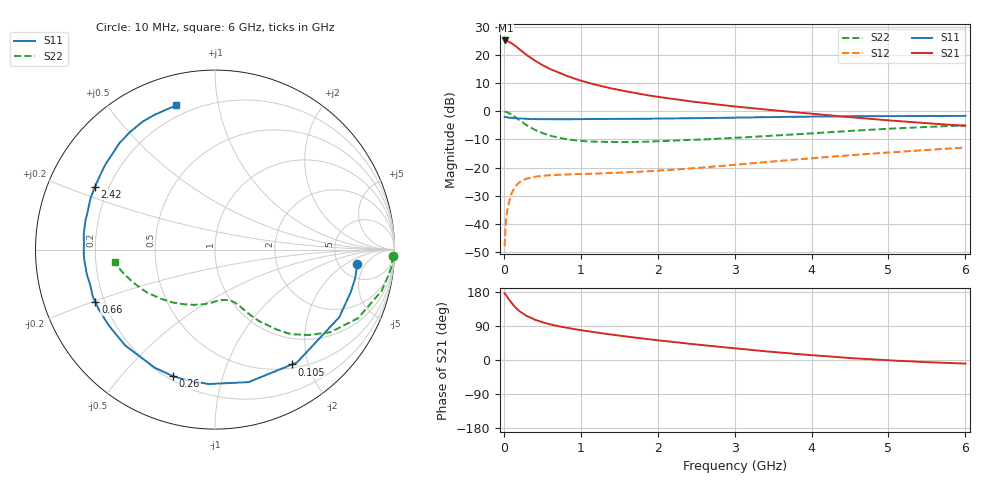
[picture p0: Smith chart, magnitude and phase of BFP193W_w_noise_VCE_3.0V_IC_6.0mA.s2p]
! Infineon Technologies  Discrete & RF Semiconductors
! BFP193W
! VCE = 3.0 V,  IC =  6.0 mA
! Common Emitter S-Parameters:  Jan 2016
# GHz  S  MA  R  50
!  f  S11  S21  S12  S22
! GHz  MAG  ANG  MAG  ANG  MAG  ANG  MAG  ANG
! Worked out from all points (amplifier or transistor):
!   210 points, 10 MHz to 6 GHz, reference 50 ohm
!   highest |S21| = 25.2 dB at 20 MHz (marker M1)
!   |S21| within 3 dB of that: start of sweep to 196.8 MHz
!   unconditionally stable (mu >= 1): 1.569 GHz to 4.35 GHz
!   at 185 MHz: K = 0.16, MSG = 24.1 dB, |S12| = -25.7 dB
!   at 1.52 GHz: K = 0.98, MSG = 14.6 dB, |S12| = -21.8 dB
!   at 6 GHz: K = 0.92, MSG = 3.9 dB, |S12| = -12.9 dB
!   lowest NFmin = 1.20 dB at 450 MHz
!   S11 on the Smith chart (normalised r, x): 10 MHz: 7.43, -3.23; 105 MHz: 0.55, -1.74; 260 MHz: 0.22, -0.70; 660 MHz: 0.16, -0.20; 2.42 GHz: 0.15, +0.24; 6 GHz: 0.14, +0.76
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0.01  0.7971 -5.7  18.19 175.9  0.004 87.4  0.9924 -2.0
0.02  0.7972 -11.6  18.26 173.7  0.0077 84.1  0.9871 -5.8
0.05  0.7883 -28.5  17.77 164.4  0.019 76.2  0.9568 -13.9
0.1  0.7772 -54.0  16.32 150.5  0.0347 63.6  0.8838 -25.6
0.105  0.7707 -56.1  16.13 149.4  0.0358 62.3  0.8734 -26.5
0.15  0.7616 -75.8  14.62 138.5  0.0464 53.9  0.7907 -35.6
0.2  0.7499 -92.8  12.82 129.2  0.0545 46.5  0.7023 -42.7
0.26  0.743 -108.4  11.05 120.8  0.0608 39.9  0.6157 -49.1
0.3  0.7386 -117.1  9.993 115.8  0.0638 36.7  0.5628 -52.3
0.4  0.7319 -133.1  8.052 106.6  0.0685 30.9  0.4717 -58.1
0.5  0.7271 -144.1  6.68 99.6  0.0714 27.7  0.4118 -61.8
0.6  0.7283 -152.3  5.68 94.1  0.0732 25.7  0.3701 -64.6
0.66  0.7278 -156.3  5.244 91.5  0.0739 25.2  0.3529 -65.7
0.8  0.7226 -164.3  4.36 85.6  0.0752 24.2  0.3227 -68.6
1.02  0.728 -173.2  3.463 78.1  0.0769 24.3  0.2976 -72.8
1.4  0.7342 174.9  2.559 67.0  0.0804 26.7  0.2855 -80.2
2.02  0.7449 160.3  1.8 51.6  0.0885 33.1  0.2952 -93.1
2.42  0.7541 152.3  1.51 42.7  0.0962 36.8  0.3108 -101.8
3.1  0.776 140.1  1.184 29.0  0.1151 41.1  0.3434 -117.2
4.1  0.8097 124.5  0.879 11.3  0.1503 42.1  0.4141 -139.9
5.1  0.8235 113.1  0.676 -1.9  0.1895 39.2  0.4975 -159.6
6  0.8318 105.1  0.554 -9.5  0.2275 35.1  0.5637 -172.7
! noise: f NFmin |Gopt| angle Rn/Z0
0.45  1.2  0.25  114  0.13
0.9  1.25  0.37  150  0.12
1.8  2  0.55  -158  0.12
